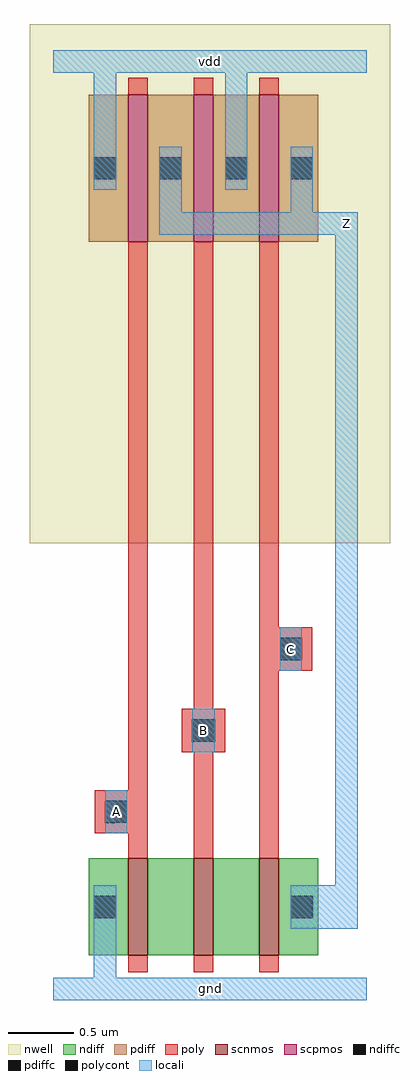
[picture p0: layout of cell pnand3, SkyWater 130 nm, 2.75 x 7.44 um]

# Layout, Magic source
magic
tech sky130A
magscale 1 2
<< nwell >>
rect -36 679 514 1471
<< poly >>
rect 114 303 144 1113
rect 96 237 144 303
rect 114 225 144 237
rect 214 225 244 1113
rect 314 551 344 1113
rect 314 485 362 551
rect 314 225 344 485
<< locali >>
rect 0 1397 478 1431
rect 62 1218 96 1397
rect 162 1184 196 1251
rect 262 1218 296 1397
rect 362 1184 396 1251
rect 162 1150 464 1184
rect 345 485 379 551
rect 212 361 246 427
rect 79 237 113 303
rect 430 158 464 1150
rect 379 92 464 158
rect 62 17 96 92
rect 0 -17 478 17
use nmos_m1_w0_740_sactive_dli  nmos_m1_w0_740_sactive_dli_0
transform 1 0 254 0 1 51
box 0 -26 150 174
use pmos_m1_w1_120_sli_dli  pmos_m1_w1_120_sli_dli_2
transform 1 0 54 0 1 1139
box -59 -54 209 278
use pmos_m1_w1_120_sli_dli  pmos_m1_w1_120_sli_dli_1
transform 1 0 154 0 1 1139
box -59 -54 209 278
use pmos_m1_w1_120_sli_dli  pmos_m1_w1_120_sli_dli_0
transform 1 0 254 0 1 1139
box -59 -54 209 278
use contact_12  contact_12_2
transform 1 0 63 0 1 237
box 0 0 66 66
use contact_12  contact_12_1
transform 1 0 196 0 1 361
box 0 0 66 66
use contact_12  contact_12_0
transform 1 0 329 0 1 485
box 0 0 66 66
use nmos_m1_w0_740_sli_dactive  nmos_m1_w0_740_sli_dactive_0
transform 1 0 54 0 1 51
box 0 -26 150 174
use nmos_m1_w0_740_sactive_dactive  nmos_m1_w0_740_sactive_dactive_0
transform 1 0 154 0 1 51
box 0 -26 150 174
<< labels >>
rlabel corelocali s 239 0 239 0 4 gnd
rlabel corelocali s 229 394 229 394 4 B
rlabel corelocali s 96 270 96 270 4 A
rlabel corelocali s 447 1167 447 1167 4 Z
rlabel corelocali s 362 518 362 518 4 C
rlabel corelocali s 239 1414 239 1414 4 vdd
<< properties >>
string FIXED_BBOX 0 0 478 1414
<< end >>

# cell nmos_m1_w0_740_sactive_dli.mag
magic
tech sky130A
magscale 1 2
<< scnmos >>
rect 60 0 90 148
<< ndiff >>
rect 0 0 60 148
rect 90 0 150 148
<< poly >>
rect 60 148 90 174
rect 60 -26 90 0
<< locali >>
rect 108 41 142 107
use contact_17  contact_17_0
transform 1 0 100 0 1 41
box 0 0 50 66
<< labels >>
rlabel poly s 75 74 75 74 4 G
rlabel mvpdiff s 25 74 25 74 4 S
rlabel corelocali s 125 74 125 74 4 D
<< properties >>
string FIXED_BBOX -25 -26 175 174
<< end >>

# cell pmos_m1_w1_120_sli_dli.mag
magic
tech sky130A
magscale 1 2
<< nwell >>
rect -54 -54 204 278
<< scpmos >>
rect 60 0 90 224
<< pdiff >>
rect 0 0 60 224
rect 90 0 150 224
<< poly >>
rect 60 224 90 250
rect 60 -26 90 0
<< locali >>
rect 8 79 42 145
rect 108 79 142 145
use contact_11  contact_11_1
transform 1 0 0 0 1 79
box -59 -51 109 117
use contact_11  contact_11_0
transform 1 0 100 0 1 79
box -59 -51 109 117
<< labels >>
rlabel poly s 75 112 75 112 4 G
rlabel corelocali s 25 112 25 112 4 S
rlabel corelocali s 125 112 125 112 4 D
<< properties >>
string FIXED_BBOX -54 -54 204 278
<< end >>

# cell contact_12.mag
magic
tech sky130A
<< poly >>
rect 0 25 33 33
rect 0 8 8 25
rect 25 8 33 25
rect 0 0 33 8
<< polycont >>
rect 8 8 25 25
<< locali >>
rect 8 25 25 33
rect 8 0 25 8
<< properties >>
string FIXED_BBOX -10 -10 43 43
<< end >>

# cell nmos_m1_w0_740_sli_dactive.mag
magic
tech sky130A
magscale 1 2
<< scnmos >>
rect 60 0 90 148
<< ndiff >>
rect 0 0 60 148
rect 90 0 150 148
<< poly >>
rect 60 148 90 174
rect 60 -26 90 0
<< locali >>
rect 8 41 42 107
use contact_17  contact_17_0
transform 1 0 0 0 1 41
box 0 0 50 66
<< labels >>
rlabel poly s 75 74 75 74 4 G
rlabel corelocali s 25 74 25 74 4 S
rlabel mvpdiff s 125 74 125 74 4 D
<< properties >>
string FIXED_BBOX -25 -26 175 174
<< end >>

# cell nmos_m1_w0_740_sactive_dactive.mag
magic
tech sky130A
magscale 1 2
<< scnmos >>
rect 60 0 90 148
<< ndiff >>
rect 0 0 60 148
rect 90 0 150 148
<< poly >>
rect 60 148 90 174
rect 60 -26 90 0
<< labels >>
rlabel poly s 75 74 75 74 4 G
rlabel mvpdiff s 25 74 25 74 4 S
rlabel mvpdiff s 125 74 125 74 4 D
<< properties >>
string FIXED_BBOX -25 -26 175 174
<< end >>

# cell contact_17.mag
magic
tech sky130A
<< ndiff >>
rect 0 25 25 31
rect 0 8 4 25
rect 21 8 25 25
rect 0 2 25 8
<< ndiffc >>
rect 4 8 21 25
<< locali >>
rect 4 25 21 33
rect 4 0 21 8
<< properties >>
string FIXED_BBOX -12 -10 37 43
<< end >>

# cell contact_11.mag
magic
tech sky130A
magscale 1 2
<< nwell >>
rect -59 -51 109 117
<< pdiff >>
rect 0 50 50 62
rect 0 16 8 50
rect 42 16 50 50
rect 0 4 50 16
<< pdiffc >>
rect 8 16 42 50
<< locali >>
rect 8 50 42 66
rect 8 0 42 16
<< properties >>
string FIXED_BBOX -59 -51 109 117
<< end >>
